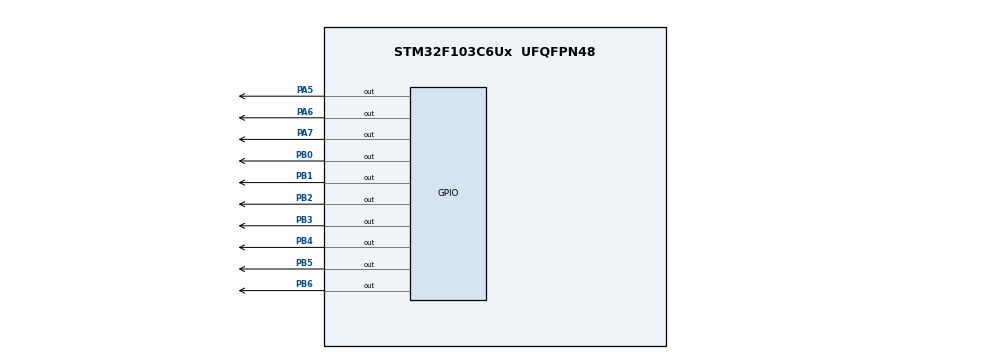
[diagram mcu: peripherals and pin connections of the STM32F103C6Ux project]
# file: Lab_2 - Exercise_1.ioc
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Mcu.Family=STM32F1
Mcu.Name=STM32F103C6Ux
Mcu.Package=UFQFPN48
NVIC.PriorityGroup=NVIC_PRIORITYGROUP_4
NVIC.TIM2_IRQn=true\:0\:0\:false\:false\:true\:true\:true
PA5.Signal=GPIO_Output
PA6.Signal=GPIO_Output
PA7.Signal=GPIO_Output
PB0.Signal=GPIO_Output
PB1.Signal=GPIO_Output
PB2.Signal=GPIO_Output
PB3.Signal=GPIO_Output
PB4.Signal=GPIO_Output
PB5.Signal=GPIO_Output
PB6.Signal=GPIO_Output
ProjectManager.HeapSize=0x200
ProjectManager.StackSize=0x400
ProjectManager.TargetToolchain=STM32CubeIDE
RCC.APB1Freq_Value=8000000
RCC.APB2Freq_Value=8000000
TIM2.Period=9
TIM2.Prescaler=7999
VP_SYS_VS_ND.Mode=No_Debug
VP_TIM2_VS_ClockSourceINT.Mode=Internal
board=custom

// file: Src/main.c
/* USER CODE BEGIN Header */
/**
  ******************************************************************************
  * @file           : main.c
  * @brief          : Main program body
  ******************************************************************************
  * @attention
  *
  * <h2><center>&copy; Copyright (c) 2025 STMicroelectronics.
  * All rights reserved.</center></h2>
  *
  * This software component is licensed by ST under BSD 3-Clause license,
  * the "License"; You may not use this file except in compliance with the
  * License. You may obtain a copy of the License at:
  *                        opensource.org/licenses/BSD-3-Clause
  *
  ******************************************************************************
  */
/* USER CODE END Header */
#include "main.h"

TIM_HandleTypeDef htim2;

void SystemClock_Config(void);
static void MX_GPIO_Init(void);
static void MX_TIM2_Init(void);

/* USER CODE BEGIN 0 */
uint8_t seg_digits[10] = {
	0b11000000, //0
	0b11111001, //1
	0b10100100, //2
	0b10110000, //3
	0b10011001, //4
	0b10010010, //5
	0b10000010, //6
	0b11111000, //7
	0b10000000, //8
	0b10010000  //9
};

void display7SEG(int firstPin, int num){
	if ( num > 9 ) return;
	uint8_t pattern = seg_digits[num];

	for ( int i = 0; i < 7; i++){
		HAL_GPIO_WritePin(GPIOB, firstPin << i, (pattern & (1 << i)) ? GPIO_PIN_SET : GPIO_PIN_RESET);
	}
}
/* USER CODE END 0 */

int main(void)
{

  /* MCU Configuration--------------------------------------------------------*/

  /* Reset of all peripherals, Initializes the Flash interface and the Systick. */
  HAL_Init();

  /* Configure the system clock */
  SystemClock_Config();

  /* Initialize all configured peripherals */
  MX_GPIO_Init();
  MX_TIM2_Init();
  /* USER CODE BEGIN 2 */
  HAL_TIM_Base_Start_IT(&htim2);
  /* USER CODE END 2 */

  /* Infinite loop */
  while (1)
  {

  }
}

void SystemClock_Config(void)
{
  RCC_OscInitTypeDef RCC_OscInitStruct = {0};
  RCC_ClkInitTypeDef RCC_ClkInitStruct = {0};

  /** Initializes the RCC Oscillators according to the specified parameters
  * in the RCC_OscInitTypeDef structure.
  */
  RCC_OscInitStruct.OscillatorType = RCC_OSCILLATORTYPE_HSI;
  RCC_OscInitStruct.HSIState = RCC_HSI_ON;
  RCC_OscInitStruct.HSICalibrationValue = RCC_HSICALIBRATION_DEFAULT;
  RCC_OscInitStruct.PLL.PLLState = RCC_PLL_NONE;
  if (HAL_RCC_OscConfig(&RCC_OscInitStruct) != HAL_OK)
  {
    Error_Handler();
  }
  /** Initializes the CPU, AHB and APB buses clocks
  */
  RCC_ClkInitStruct.ClockType = RCC_CLOCKTYPE_HCLK|RCC_CLOCKTYPE_SYSCLK
                              |RCC_CLOCKTYPE_PCLK1|RCC_CLOCKTYPE_PCLK2;
  RCC_ClkInitStruct.SYSCLKSource = RCC_SYSCLKSOURCE_HSI;
  RCC_ClkInitStruct.AHBCLKDivider = RCC_SYSCLK_DIV1;
  RCC_ClkInitStruct.APB1CLKDivider = RCC_HCLK_DIV1;
  RCC_ClkInitStruct.APB2CLKDivider = RCC_HCLK_DIV1;

  if (HAL_RCC_ClockConfig(&RCC_ClkInitStruct, FLASH_LATENCY_0) != HAL_OK)
  {
    Error_Handler();
  }
}

static void MX_TIM2_Init(void)
{

  TIM_ClockConfigTypeDef sClockSourceConfig = {0};
  TIM_MasterConfigTypeDef sMasterConfig = {0};

  htim2.Instance = TIM2;
  htim2.Init.Prescaler = 7999;
  htim2.Init.CounterMode = TIM_COUNTERMODE_UP;
  htim2.Init.Period = 9;
  htim2.Init.ClockDivision = TIM_CLOCKDIVISION_DIV1;
  htim2.Init.AutoReloadPreload = TIM_AUTORELOAD_PRELOAD_DISABLE;
  if (HAL_TIM_Base_Init(&htim2) != HAL_OK)
  {
    Error_Handler();
  }
  sClockSourceConfig.ClockSource = TIM_CLOCKSOURCE_INTERNAL;
  if (HAL_TIM_ConfigClockSource(&htim2, &sClockSourceConfig) != HAL_OK)
  {
    Error_Handler();
  }
  sMasterConfig.MasterOutputTrigger = TIM_TRGO_RESET;
  sMasterConfig.MasterSlaveMode = TIM_MASTERSLAVEMODE_DISABLE;
  if (HAL_TIMEx_MasterConfigSynchronization(&htim2, &sMasterConfig) != HAL_OK)
  {
    Error_Handler();
  }

}

static void MX_GPIO_Init(void)
{
  GPIO_InitTypeDef GPIO_InitStruct = {0};

  /* GPIO Ports Clock Enable */
  __HAL_RCC_GPIOA_CLK_ENABLE();
  __HAL_RCC_GPIOB_CLK_ENABLE();

  /*Configure GPIO pin Output Level */
  HAL_GPIO_WritePin(GPIOA, GPIO_PIN_5|GPIO_PIN_6|GPIO_PIN_7, GPIO_PIN_RESET);

  /*Configure GPIO pin Output Level */
  HAL_GPIO_WritePin(GPIOB, GPIO_PIN_0|GPIO_PIN_1|GPIO_PIN_2|GPIO_PIN_3
                          |GPIO_PIN_4|GPIO_PIN_5|GPIO_PIN_6, GPIO_PIN_RESET);

  /*Configure GPIO pins : PA5 PA6 PA7 */
  GPIO_InitStruct.Pin = GPIO_PIN_5|GPIO_PIN_6|GPIO_PIN_7;
  GPIO_InitStruct.Mode = GPIO_MODE_OUTPUT_PP;
  GPIO_InitStruct.Pull = GPIO_NOPULL;
  GPIO_InitStruct.Speed = GPIO_SPEED_FREQ_LOW;
  HAL_GPIO_Init(GPIOA, &GPIO_InitStruct);

  /*Configure GPIO pins : PB0 PB1 PB2 PB3
                           PB4 PB5 PB6 */
  GPIO_InitStruct.Pin = GPIO_PIN_0|GPIO_PIN_1|GPIO_PIN_2|GPIO_PIN_3
                          |GPIO_PIN_4|GPIO_PIN_5|GPIO_PIN_6;
  GPIO_InitStruct.Mode = GPIO_MODE_OUTPUT_PP;
  GPIO_InitStruct.Pull = GPIO_NOPULL;
  GPIO_InitStruct.Speed = GPIO_SPEED_FREQ_LOW;
  HAL_GPIO_Init(GPIOB, &GPIO_InitStruct);

}

/* USER CODE BEGIN 4 */
int currentDisplay = 0;
int counter = 0;
int digitCounter = 0;

void HAL_TIM_PeriodElapsedCallback(TIM_HandleTypeDef *htim){
	if (htim->Instance == TIM2){

		counter++;
		if (counter >= 100){
			counter = 0;
			HAL_GPIO_TogglePin(GPIOA, GPIO_PIN_5);
		}

		digitCounter++;
		if (digitCounter >= 50){
			digitCounter = 0;

			if (currentDisplay == 0){
				HAL_GPIO_WritePin(GPIOA, GPIO_PIN_6, GPIO_PIN_RESET);
				HAL_GPIO_WritePin(GPIOA, GPIO_PIN_7, GPIO_PIN_SET);
				display7SEG(GPIO_PIN_0, 1);
				currentDisplay = 1;
			}
			else {
				HAL_GPIO_WritePin(GPIOA, GPIO_PIN_6, GPIO_PIN_SET);
				HAL_GPIO_WritePin(GPIOA, GPIO_PIN_7, GPIO_PIN_RESET);
				display7SEG(GPIO_PIN_0, 2);
				currentDisplay = 0;
			}
		}
	}
}
/* USER CODE END 4 */

void Error_Handler(void)
{
  __disable_irq();
  while (1)
  {
  }
}

/************************ (C) COPYRIGHT STMicroelectronics *****END OF FILE****/
